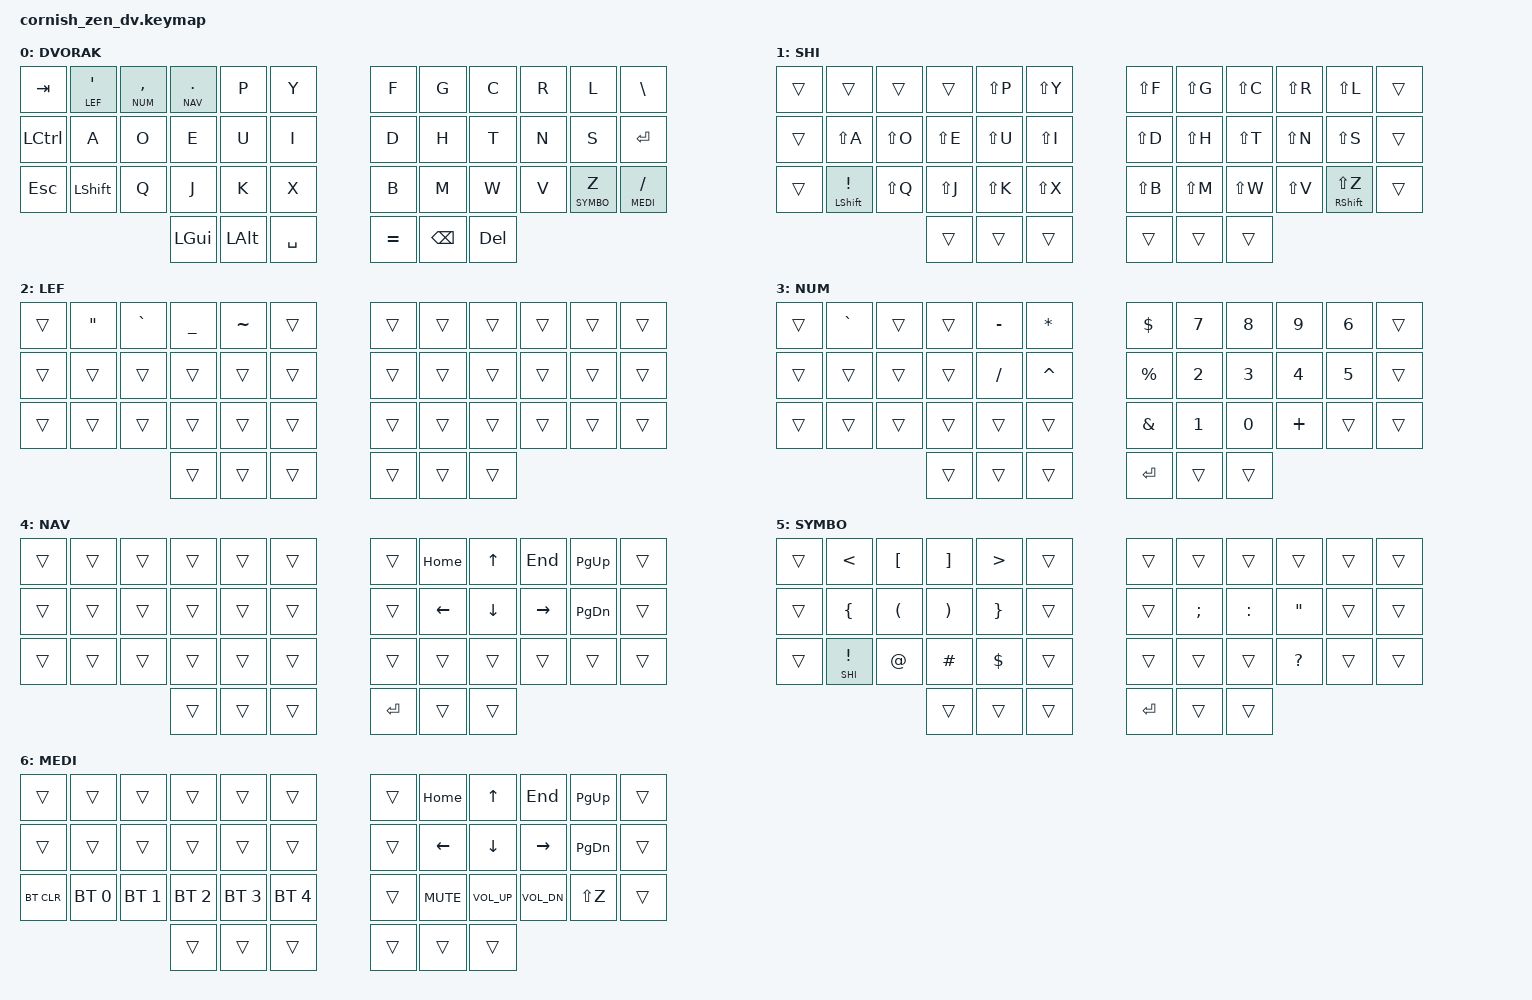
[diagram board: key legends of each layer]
/*
*
* From: https://github.com/pyg/zmk-config-zen-2/blob/main/config/corneish_zen.keymap
*
*/

#include <behaviors.dtsi>
#include <dt-bindings/zmk/keys.h>
#include <dt-bindings/zmk/bt.h>

#define DVOR 0
#define SHI 1
#define LEF 2
#define NUM 3
#define NAV 4
#define SYMBO 5
#define MEDI 6


&lt {
    tapping-term-ms = <110>;
    flavor = "hold-preferred";

};

&mt {
    tapping-term-ms = <110>;
    flavor = "hold-preferred";
};

/ {
  chosen {
    zmk,matrix_transform = &default_transform;
    //zmk,matrix_transform = &five_column_transform;
  };
};

/ {
        keymap {
                compatible = "zmk,keymap";

                default_layer {
                        label = "DVORAK";
                        bindings = <
// ╭─────────────┬─────────────┬─────────────┬─────────────┬─────────────┬─────────────╮   ╭─────────────┬─────────────┬─────────────┬─────────────┬─────────────┬─────────────╮
     &kp TAB       &lt LEF SQT  &lt NUM COMMA  &lt NAV DOT   &kp P         &kp Y             &kp F         &kp G         &kp C         &kp R         &kp L         &kp BSLH
// ├─────────────┼─────────────┼─────────────┼─────────────┼─────────────┼─────────────┤   ├─────────────┼─────────────┼─────────────┼─────────────┼─────────────┼─────────────┤
     &kp LCTRL     &kp A         &kp O         &kp E         &kp U         &kp I             &kp D         &kp H         &kp T         &kp N         &kp S         &kp ENTER
// ├─────────────┼─────────────┼─────────────┼─────────────┼─────────────┼─────────────┤   ├─────────────┼─────────────┼─────────────┼─────────────┼─────────────┼─────────────┤
     &kp ESC       &kp LSHIFT    &kp Q         &kp J         &kp K         &kp X             &kp B         &kp M         &kp W         &kp V         &lt SYMBO Z  &lt MEDI SLASH 
// ╰─────────────┴─────────────┴─────────────┴─────────────┼─────────────┼─────────────┤   ├─────────────┼─────────────┼─────────────┴─────────────┴─────────────┴─────────────╯
                                               &kp LGUI      &kp LALT      &kp SPACE         &kp EQUAL     &kp BSPC      &kp DEL
//                                           ╰─────────────┴─────────────┴─────────────╯   ╰─────────────┴─────────────┴─────────────╯
                        >;
                };
                shi_layer {
                        label = "SHI";
                        bindings = <
// ╭─────────────┬─────────────┬─────────────┬─────────────┬─────────────┬─────────────╮   ╭─────────────┬─────────────┬─────────────┬─────────────┬─────────────┬─────────────╮
     &trans        &trans        &trans        &trans        &kp LS(P)     &kp LS(Y)         &kp LS(F)     &kp LS(G)     &kp LS(C)     &kp LS(R)     &kp LS(L)     &trans 
// ├─────────────┼─────────────┼─────────────┼─────────────┼─────────────┼─────────────┤   ├─────────────┼─────────────┼─────────────┼─────────────┼─────────────┼─────────────┤
     &trans        &kp LS(A)     &kp LS(O)     &kp LS(E)     &kp LS(U)     &kp LS(I)         &kp LS(D)     &kp LS(H)     &kp LS(T)     &kp LS(N)     &kp LS(S)     &trans 
// ├─────────────┼─────────────┼─────────────┼─────────────┼─────────────┼─────────────┤   ├─────────────┼─────────────┼─────────────┼─────────────┼─────────────┼─────────────┤
     &trans      &mt LSHIFT EXCL &kp LS(Q)     &kp LS(J)     &kp LS(K)     &kp LS(X)         &kp LS(B)     &kp LS(M)     &kp LS(W)     &kp LS(V)   &mt RSHIFT LS(Z) &trans 
// ╰─────────────┴─────────────┴─────────────┴─────────────┼─────────────┼─────────────┤   ├─────────────┼─────────────┼─────────────┴─────────────┴─────────────┴─────────────╯
                                               &trans        &trans        &trans            &trans        &trans        &trans 
//                                           ╰─────────────┴─────────────┴─────────────╯   ╰─────────────┴─────────────┴─────────────╯
                        >;
                };
                left_layer {
                        label = "LEF";
                        bindings = <
// ╭─────────────┬─────────────┬─────────────┬─────────────┬─────────────┬─────────────╮   ╭─────────────┬─────────────┬─────────────┬─────────────┬─────────────┬─────────────╮
     &trans        &kp DQT       &kp GRAVE     &kp UNDER     &kp TILDE     &trans            &trans        &trans        &trans        &trans        &trans        &trans
// ├─────────────┼─────────────┼─────────────┼─────────────┼─────────────┼─────────────┤   ├─────────────┼─────────────┼─────────────┼─────────────┼─────────────┼─────────────┤
     &trans        &trans        &trans        &trans        &trans        &trans            &trans        &trans        &trans        &trans        &trans        &trans
// ├─────────────┼─────────────┼─────────────┼─────────────┼─────────────┼─────────────┤   ├─────────────┼─────────────┼─────────────┼─────────────┼─────────────┼─────────────┤
     &trans        &trans        &trans        &trans        &trans        &trans            &trans        &trans        &trans        &trans        &trans        &trans
// ╰─────────────┴─────────────┴─────────────┴─────────────┼─────────────┼─────────────┤   ├─────────────┼─────────────┼─────────────┴─────────────┴─────────────┴─────────────╯
                                               &trans        &trans        &trans            &trans        &trans        &trans
//                                           ╰─────────────┴─────────────┴─────────────╯   ╰─────────────┴─────────────┴─────────────╯
                        >;
                };
                num_layer {
                        label = "NUM";
                        bindings = <
// ╭─────────────┬─────────────┬─────────────┬─────────────┬─────────────┬─────────────╮   ╭─────────────┬─────────────┬─────────────┬─────────────┬─────────────┬─────────────╮
     &trans        &kp GRAVE     &trans        &trans        &kp MINUS     &kp STAR          &kp DOLLAR    &kp N7        &kp N8        &kp N9        &kp N6        &trans
// ├─────────────┼─────────────┼─────────────┼─────────────┼─────────────┼─────────────┤   ├─────────────┼─────────────┼─────────────┼─────────────┼─────────────┼─────────────┤
     &trans        &trans        &trans        &trans        &kp SLASH     &kp CARET         &kp PERCENT   &kp N2        &kp N3        &kp N4        &kp N5        &trans
// ├─────────────┼─────────────┼─────────────┼─────────────┼─────────────┼─────────────┤   ├─────────────┼─────────────┼─────────────┼─────────────┼─────────────┼─────────────┤
     &trans        &trans        &trans        &trans        &trans        &trans            &kp AMPS      &kp N1        &kp N0        &kp PLUS      &trans        &trans
// ╰─────────────┴─────────────┴─────────────┴─────────────┼─────────────┼─────────────┤   ├─────────────┼─────────────┼─────────────┴─────────────┴─────────────┴─────────────╯
                                               &trans        &trans        &trans            &kp ENTER     &trans        &trans
//                                           ╰─────────────┴─────────────┴─────────────╯   ╰─────────────┴─────────────┴─────────────╯
                        >;
                };
                nav_layer {
                        label = "NAV";
                        bindings = <
// ╭─────────────┬─────────────┬─────────────┬─────────────┬─────────────┬─────────────╮   ╭─────────────┬─────────────┬─────────────┬─────────────┬─────────────┬─────────────╮
     &trans        &trans        &trans        &trans        &trans        &trans            &trans        &kp HOME      &kp UP        &kp END       &kp PG_UP     &trans
// ├─────────────┼─────────────┼─────────────┼─────────────┼─────────────┼─────────────┤   ├─────────────┼─────────────┼─────────────┼─────────────┼─────────────┼─────────────┤
     &trans        &trans        &trans        &trans        &trans        &trans            &trans        &kp LEFT      &kp DOWN      &kp RIGHT     &kp PG_DN     &trans
// ├─────────────┼─────────────┼─────────────┼─────────────┼─────────────┼─────────────┤   ├─────────────┼─────────────┼─────────────┼─────────────┼─────────────┼─────────────┤
     &trans        &trans        &trans        &trans        &trans        &trans            &trans        &trans        &trans        &trans        &trans        &trans
// ╰─────────────┴─────────────┴─────────────┴─────────────┼─────────────┼─────────────┤   ├─────────────┼─────────────┼─────────────┴─────────────┴─────────────┴─────────────╯
                                               &trans        &trans        &trans            &kp ENTER     &trans        &trans
//                                           ╰─────────────┴─────────────┴─────────────╯   ╰─────────────┴─────────────┴─────────────╯
                        >;
                };
                symbol_layer {
                        label = "SYMBO";
                        bindings = <
// ╭─────────────┬─────────────┬─────────────┬─────────────┬─────────────┬─────────────╮   ╭─────────────┬─────────────┬─────────────┬─────────────┬─────────────┬─────────────╮
     &trans        &kp LT        &kp LBKT      &kp RBKT      &kp GT        &trans            &trans        &trans        &trans        &trans        &trans        &trans
// ├─────────────┼─────────────┼─────────────┼─────────────┼─────────────┼─────────────┤   ├─────────────┼─────────────┼─────────────┼─────────────┼─────────────┼─────────────┤
     &trans        &kp LBRC      &kp LPAR      &kp RPAR      &kp RBRC      &trans            &trans        &kp SEMI      &kp COLON     &kp DQT       &trans        &trans
// ├─────────────┼─────────────┼─────────────┼─────────────┼─────────────┼─────────────┤   ├─────────────┼─────────────┼─────────────┼─────────────┼─────────────┼─────────────┤
     &trans        &lt SHI EXCL  &kp AT        &kp POUND     &kp DLLR      &trans            &trans        &trans        &trans        &kp QMARK     &trans        &trans
// ╰─────────────┴─────────────┴─────────────┴─────────────┼─────────────┼─────────────┤   ├─────────────┼─────────────┼─────────────┴─────────────┴─────────────┴─────────────╯
                                               &trans        &trans        &trans            &kp ENTER     &trans        &trans
//                                           ╰─────────────┴─────────────┴─────────────╯   ╰─────────────┴─────────────┴─────────────╯
                        >;
                };
                media_layer {
                        label = "MEDI";
                        bindings = <
// ╭─────────────┬─────────────┬─────────────┬─────────────┬─────────────┬─────────────╮   ╭─────────────┬─────────────┬─────────────┬─────────────┬─────────────┬─────────────╮
     &trans        &trans        &trans        &trans        &trans        &trans            &trans        &kp HOME      &kp UP        &kp END       &kp PG_UP     &trans
// ├─────────────┼─────────────┼─────────────┼─────────────┼─────────────┼─────────────┤   ├─────────────┼─────────────┼─────────────┼─────────────┼─────────────┼─────────────┤
     &trans        &trans        &trans        &trans        &trans        &trans            &trans        &kp LEFT      &kp DOWN      &kp RIGHT     &kp PG_DN     &trans
// ├─────────────┼─────────────┼─────────────┼─────────────┼─────────────┼─────────────┤   ├─────────────┼─────────────┼─────────────┼─────────────┼─────────────┼─────────────┤
     &bt BT_CLR    &bt BT_SEL 0  &bt BT_SEL 1  &bt BT_SEL 2  &bt BT_SEL 3  &bt BT_SEL 4      &trans        &kp K_MUTE    &kp K_VOL_UP  &kp K_VOL_DN  &kp LS(Z)     &trans
// ╰─────────────┴─────────────┴─────────────┴─────────────┼─────────────┼─────────────┤   ├─────────────┼─────────────┼─────────────┴─────────────┴─────────────┴─────────────╯
                                               &trans        &trans        &trans            &trans        &trans        &trans
//                                           ╰─────────────┴─────────────┴─────────────╯   ╰─────────────┴─────────────┴─────────────╯
                        >;
                };
        };
};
